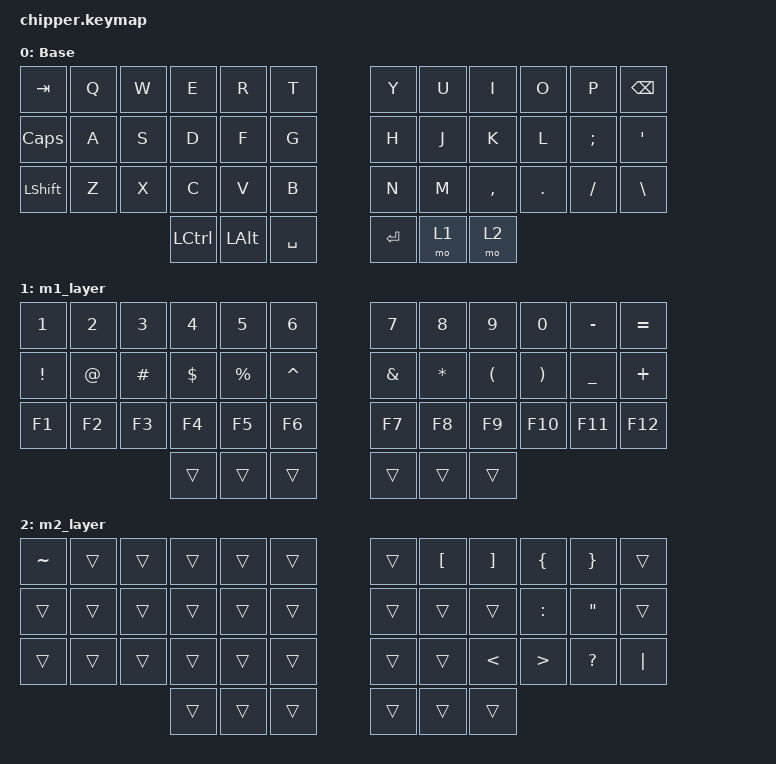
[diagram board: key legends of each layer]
// This file was generated from a template. Edit it to match your keyboard.
// See https://zmk.dev/docs/development/hardware-integration/new-shield for more instructions.

#include <behaviors.dtsi>
#include <dt-bindings/zmk/keys.h>

#define COMBO_TIMEOUT 60
#define DEFAULT 0
#define LOWER   1
#define RAISE   2
#define DANGER  3

/ {
    macros {
        hello: hello {
            label = "hello";
            compatible = "zmk,behavior-macro";
            #binding-cells = <0>;
            bindings =
                <&macro_tap_time 10>,
                <&macro_tap>,
                <&kp H &kp E &kp L &kp L &kp O>;
        };
    };
};

/ {
    combos {
        compatible = "zmk,combos";

        combo_del {
            timeout-ms = <COMBO_TIMEOUT>;
            key-positions = <11 12 13>;
            bindings = <&mt RALT DEL>;
        };

        combo_cw {
            timeout-ms = <COMBO_TIMEOUT>;
            key-positions = <2 3 4>;
            bindings = <&caps_word>;
        };

        combo_tab {
            timeout-ms = <COMBO_TIMEOUT>;
            key-positions = <10 11 12>;
            bindings = <&mt K_CONTEXT_MENU TAB>;
        };

        combo_row {
            timeout-ms = <COMBO_TIMEOUT>;
            key-positions = <12 13 14>;
            bindings = <&kp LS(HOME)>;
        };

        combo_esc {
            timeout-ms = <COMBO_TIMEOUT>;
            key-positions = <0 1 2>;
            bindings = <&kp ESC>;
        };

        combo_ctlbksp {
            timeout-ms = <COMBO_TIMEOUT>;
            key-positions = <6 7 8>;
            bindings = <&kp LC(BSPC)>;
        };

        combo_bksp {
            timeout-ms = <COMBO_TIMEOUT>;
            key-positions = <16 17 18>;
            bindings = <&kp BSPC>;
        };
    };
};

&caps_word { continue-list = <UNDERSCORE MINUS BACKSPACE DELETE HOME END LEFT RIGHT>; };

&kscan0 { debounce-period = <20>; };

/ {
    behaviors {
        bh: layer_taps {
            compatible = "zmk,behavior-hold-tap";
            label = "Layer-Tap";
            #binding-cells = <2>;
            tapping_term_ms = <215>;
            flavor = "tap-preferred";
            bindings = <&mo>, <&kp>;
        };

        hm: homerow_mods {
            compatible = "zmk,behavior-hold-tap";
            label = "HOMEROW_MODS";
            #binding-cells = <2>;
            tapping-term-ms = <170>;
            quick_tap_ms = <0>;
            flavor = "tap-preferred";
            bindings = <&kp>, <&kp>;
        };

        sm: shift_mods {
            compatible = "zmk,behavior-hold-tap";
            label = "SHIFT_MODS";
            #binding-cells = <2>;
            tapping-term-ms = <170>;
            quick_tap_ms = <0>;
            flavor = "hold-preferred";
            bindings = <&kp>, <&kp>;
        };
    };
};

/ {
    keymap {
        compatible = "zmk,keymap";

        Base {
            bindings = <
&kp TAB    &kp Q  &kp W  &kp E      &kp R     &kp T        &kp Y    &kp U  &kp I      &kp O    &kp P     &kp BSPC
&kp CAPS   &kp A  &kp S  &kp D      &kp F     &kp G        &kp H    &kp J  &kp K      &kp L    &kp SEMI  &kp SQT
&kp LSHFT  &kp Z  &kp X  &kp C      &kp V     &kp B        &kp N    &kp M  &kp COMMA  &kp DOT  &kp FSLH  &kp BSLH
                         &kp LCTRL  &kp LALT  &kp SPACE    &kp RET  &mo 1  &mo 2
            >;
        };

        m1_layer {
            bindings = <
&kp N1           &kp N2       &kp N3    &kp N4      &kp N5       &kp N6       &kp N7         &kp N8        &kp N9                &kp N0                 &kp MINUS       &kp EQUAL
&kp EXCLAMATION  &kp AT_SIGN  &kp HASH  &kp DOLLAR  &kp PERCENT  &kp CARET    &kp AMPERSAND  &kp ASTERISK  &kp LEFT_PARENTHESIS  &kp RIGHT_PARENTHESIS  &kp UNDERSCORE  &kp PLUS
&kp F1           &kp F2       &kp F3    &kp F4      &kp F5       &kp F6       &kp F7         &kp F8        &kp F9                &kp F10                &kp F11         &kp F12
                                        &trans      &trans       &trans       &trans         &trans        &trans
            >;
        };

        m2_layer {
            bindings = <
&kp TILDE  &trans  &trans  &trans  &trans  &trans    &trans  &kp LEFT_BRACKET  &kp RIGHT_BRACKET  &kp LEFT_BRACE    &kp RIGHT_BRACE    &trans
&trans     &trans  &trans  &trans  &trans  &trans    &trans  &trans            &trans             &kp COLON         &kp DOUBLE_QUOTES  &trans
&trans     &trans  &trans  &trans  &trans  &trans    &trans  &trans            &kp LESS_THAN      &kp GREATER_THAN  &kp QUESTION       &kp PIPE
                           &trans  &trans  &trans    &trans  &trans            &trans
            >;
        };
    };
};

 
